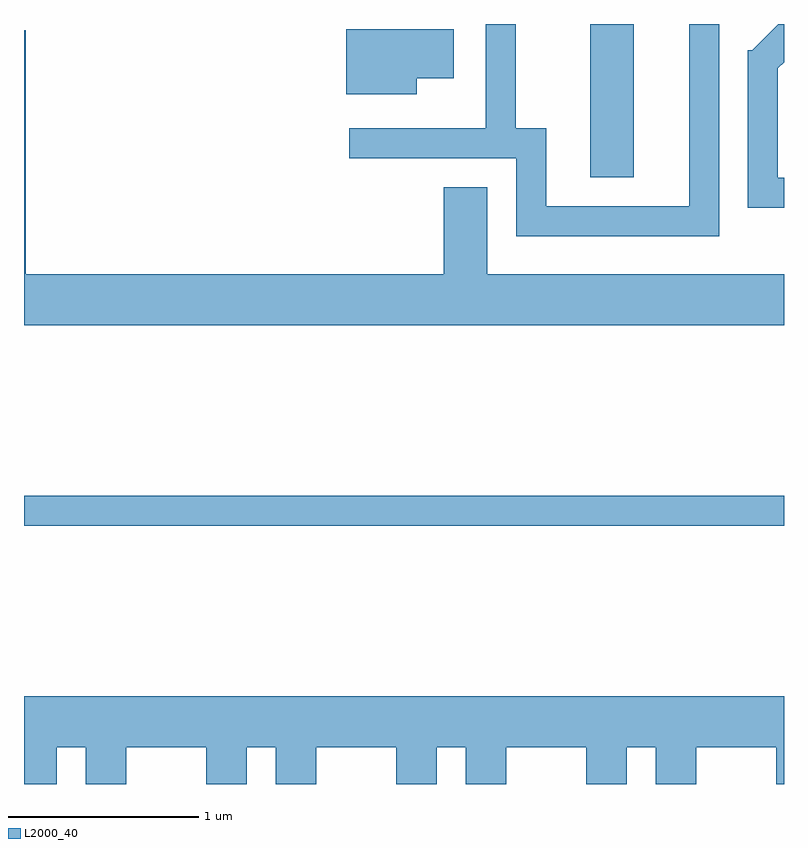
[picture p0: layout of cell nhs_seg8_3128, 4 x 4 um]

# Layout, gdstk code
import gdstk
lib = gdstk.Library(unit=1e-6, precision=1e-09)
def R(c, l, rs):  # rectangles x0, y0, x1, y1
    for r in rs: c.add(gdstk.rectangle(r[:2], r[2:], *l))
def P(c, l, *ps):  # polygons
    for p in ps: c.add(gdstk.Polygon(p, *l))
L2000_40 = (2000, 40)

nhs_seg8_3128 = lib.new_cell('nhs_seg8_3128')
R(nhs_seg8_3128, L2000_40, [(277.611,1939.701,281.611,1939.859), (280.591,1941.536,280.819,1942.342)])
P(nhs_seg8_3128, L2000_40, [(281.269,1942.342),(281.111,1942.342),(281.111,1941.384),(280.359,1941.384),(280.359,1941.794),(280.199,1941.794),(280.199,1942.342),(280.041,1942.342),(280.041,1941.794),(279.323,1941.794),(279.323,1941.636),(280.201,1941.636),(280.201,1941.226),(281.269,1941.226)],
  [(281.611,1941.534),(281.579,1941.534),(281.579,1942.109),(281.611,1942.141),(281.611,1942.342),(281.581,1942.342),(281.444,1942.204),(281.421,1942.204),(281.421,1941.376),(281.611,1941.376)],
  [(279.679,1942.056),(279.874,1942.056),(279.874,1942.314),(279.306,1942.314),(279.306,1941.971),(279.679,1941.971)],
  [(281.611,1941.024),(280.049,1941.024),(280.049,1941.484),(279.821,1941.484),(279.821,1941.024),(277.619,1941.024),(277.619,1942.309),(277.611,1942.309),(277.611,1940.756),(281.611,1940.756)],
  [(277.784,1938.536),(277.936,1938.536),(277.936,1938.342),(278.149,1938.342),(278.149,1938.536),(278.571,1938.536),(278.571,1938.342),(278.784,1938.342),(278.784,1938.536),(278.936,1938.536),(278.936,1938.342),(279.149,1938.342),(279.149,1938.536),(279.571,1938.536),(279.571,1938.342),(279.784,1938.342),(279.784,1938.536),(279.936,1938.536),(279.936,1938.342),(280.149,1938.342),(280.149,1938.536),(280.571,1938.536),(280.571,1938.342),(280.784,1938.342),(280.784,1938.536),(280.936,1938.536),(280.936,1938.342),(281.149,1938.342),(281.149,1938.536),(281.571,1938.536),(281.571,1938.342),(281.611,1938.342),(281.611,1938.804),(277.611,1938.804),(277.611,1938.342),(277.784,1938.342)])

lib.write_gds('nhs_seg8_3128.gds')
